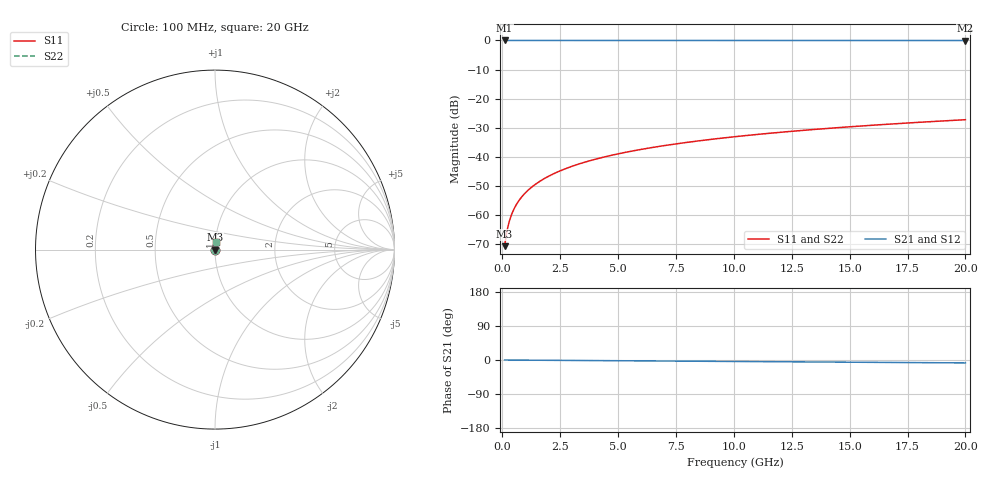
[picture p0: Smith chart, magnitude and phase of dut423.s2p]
! Touchstone file exported from HFSS 2026.1.0
!  File:  C:/ffzhzh/LocalFiles/Ansys_Project_Files/temp_train_TSV_423_1783020925_46388.aedt
!  Generated:  03:37:05 AM Jul  3, 2026
!  Design:  TSV
!  Project:  temp_train_TSV_423_1783020925_46388
! Variables:
!  h_bsmrdl = 2um
!  h_ox = 20um
!  h_rdl = 5um
!  h_sub = 67.91um
!  h_tmrdl = 5um
!  h_tsv = 67.91um
!  h_via = 3um
!  l_bsmrdl = 300um
!  l_sub = 417.06um
!  l_tmrdl = 200um
!  m_sub = 200um
!  pitch = 52um
!  r_tsv = 8.53um
!  s_tmrdl = 10um
!  w_bsmrdl = 18um
!  w_sub = 500um
!  w_tmrdl = 12um
!  x_tsv_center1 = 206um
!  x_tsv_center2 = 524um
!  x_tsv_center3 = 736um
!  x_tsv_center4 = 1054um
!  x_tsv_center5 = 1266um
!  x_tsv_center6 = 1584um
# GHz S MA R 50.000000
! Terminal data exported
! Port[1] = TSV1_1_T1
! Port[2] = TSV1_1_T2
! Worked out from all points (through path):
!   200 points, 100 MHz to 20 GHz, reference 50 ohm
!   highest |S21| = 0.00 dB at 100 MHz (marker M1); lowest = 0.0 dB at 20 GHz (marker M2)
!   group delay of S21, straight-line fit = 1.07 ps
!   lowest |S11| = -70.7 dB at 100 MHz (marker M3), VSWR 1.00, Z = 50 + j0.0254 ohm
!   |S11| at or under -10 dB: start of sweep to end of sweep
!   |S22| runs from -70.7 to -27.3 dB; largest |S21 - S12| = 2.2e-15
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0.1  0.0002908 61.0  0.9999 -0.0  0.9999 -0.0  0.0002908 61.0
! Gamma 0 0 0 0
! Port Impedance 50 0 50 0
0.2  0.0005285 73.4  0.9999 -0.1  0.9999 -0.1  0.0005285 73.4
0.3  0.0007733 77.6  0.9998 -0.1  0.9998 -0.1  0.0007733 77.6
0.4  0.001017 79.6  0.9998 -0.2  0.9998 -0.2  0.001017 79.6
0.5  0.001257 80.6  0.9998 -0.2  0.9998 -0.2  0.001257 80.6
0.6  0.001493 81.3  0.9998 -0.2  0.9998 -0.2  0.001493 81.3
0.7  0.001726 81.8  0.9998 -0.3  0.9998 -0.3  0.001726 81.8
0.8  0.001956 82.1  0.9997 -0.3  0.9997 -0.3  0.001956 82.1
1  0.002409 82.7  0.9997 -0.4  0.9997 -0.4  0.002409 82.7
1.4  0.003302 83.5  0.9997 -0.6  0.9997 -0.6  0.003302 83.5
1.7  0.003968 84.0  0.9996 -0.7  0.9996 -0.7  0.003968 84.0
2  0.004632 84.3  0.9996 -0.8  0.9996 -0.8  0.004632 84.3
2.7  0.00618 84.8  0.9995 -1.1  0.9995 -1.1  0.00618 84.8
3.5  0.007945 85.0  0.9995 -1.4  0.9995 -1.4  0.007945 85.0
4.2  0.009484 85.0  0.9994 -1.6  0.9994 -1.6  0.009484 85.0
5  0.01123 85.0  0.9993 -1.9  0.9993 -1.9  0.01123 85.0
6.8  0.01515 84.7  0.9992 -2.6  0.9992 -2.6  0.01515 84.7
8.3  0.0184 84.3  0.999 -3.2  0.999 -3.2  0.0184 84.3
10.1  0.02228 83.9  0.9989 -3.9  0.9989 -3.9  0.02228 83.9
13.4  0.02936 82.9  0.9986 -5.2  0.9986 -5.2  0.02936 82.9
16.7  0.03641 81.8  0.9982 -6.4  0.9982 -6.4  0.03641 81.8
20  0.0434 80.7  0.9978 -7.7  0.9978 -7.7  0.0434 80.7
